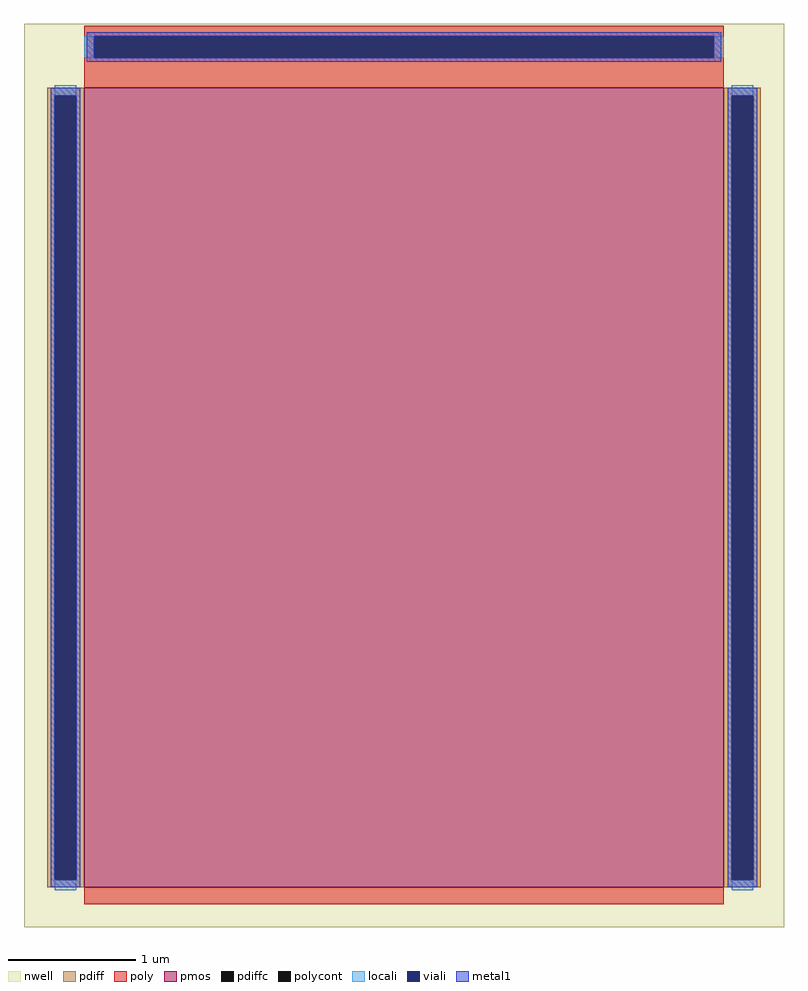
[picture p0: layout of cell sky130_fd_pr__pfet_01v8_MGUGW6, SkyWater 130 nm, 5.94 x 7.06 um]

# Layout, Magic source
magic
tech sky130A
magscale 1 2
<< nwell >>
rect -594 -723 594 689
<< pmos >>
rect -500 -661 500 589
<< pdiff >>
rect -558 577 -500 589
rect -558 -649 -546 577
rect -512 -649 -500 577
rect -558 -661 -500 -649
rect 500 577 558 589
rect 500 -649 512 577
rect 546 -649 558 577
rect 500 -661 558 -649
<< pdiffc >>
rect -546 -649 -512 577
rect 512 -649 546 577
<< poly >>
rect -500 670 500 686
rect -500 636 -484 670
rect 484 636 500 670
rect -500 589 500 636
rect -500 -687 500 -661
<< polycont >>
rect -484 636 484 670
<< locali >>
rect -500 636 -484 670
rect 484 636 500 670
rect -546 577 -512 593
rect -546 -665 -512 -649
rect 512 577 546 593
rect 512 -665 546 -649
<< viali >>
rect -484 636 484 670
rect -546 -649 -512 577
rect 512 -649 546 577
<< metal1 >>
rect -496 670 496 676
rect -496 636 -484 670
rect 484 636 496 670
rect -496 630 496 636
rect -552 577 -506 589
rect -552 -649 -546 577
rect -512 -649 -506 577
rect -552 -661 -506 -649
rect 506 577 552 589
rect 506 -649 512 577
rect 546 -649 552 577
rect 506 -661 552 -649
<< properties >>
string gencell sky130_fd_pr__pfet_01v8
string library sky130
string parameters w 6.25 l 5.0 m 1 nf 1 diffcov 100 polycov 100 guard 0 glc 1 grc 1 gtc 1 gbc 1 tbcov 100 rlcov 100 topc 1 botc 0 poverlap 0 doverlap 1 lmin 0.15 wmin 0.42 class mosfet compatible {sky130_fd_pr__pfet_01v8  sky130_fd_pr__pfet_01v8_lvt sky130_fd_pr__pfet_01v8_hvt  sky130_fd_pr__pfet_g5v0d10v5} full_metal 1 viasrc 100 viadrn 100 viagate 100 viagb 0 viagr 0 viagl 0 viagt 0
<< end >>
